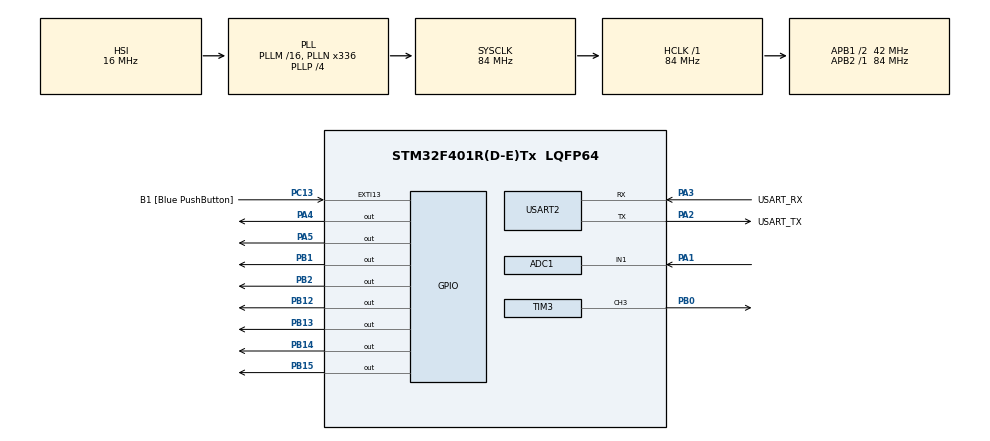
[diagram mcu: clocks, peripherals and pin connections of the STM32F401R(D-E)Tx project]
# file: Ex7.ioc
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ADC1.Channel-0\#ChannelRegularConversion=ADC_CHANNEL_1
ADC1.ExternalTrigConv=ADC_EXTERNALTRIGCONV_T2_TRGO
ADC1.NbrOfConversionFlag=1
ADC1.Rank-0\#ChannelRegularConversion=1
ADC1.SamplingTime-0\#ChannelRegularConversion=ADC_SAMPLETIME_480CYCLES
ADC1.master=1
Mcu.Family=STM32F4
Mcu.Name=STM32F401R(D-E)Tx
Mcu.Package=LQFP64
NVIC.ADC_IRQn=true\:0\:0\:false\:false\:true\:true\:true\:true
NVIC.PriorityGroup=NVIC_PRIORITYGROUP_0
PA1.Signal=SharedAnalog_PA1
PA13.GPIO_Label=TMS
PA13.Mode=Serial_Wire
PA13.Signal=SYS_JTMS-SWDIO
PA14.GPIO_Label=TCK
PA14.Mode=Serial_Wire
PA14.Signal=SYS_JTCK-SWCLK
PA2.GPIO_Label=USART_TX
PA2.GPIO_Mode=GPIO_MODE_AF_PP
PA2.GPIO_PuPd=GPIO_NOPULL
PA2.GPIO_Speed=GPIO_SPEED_FREQ_LOW
PA2.Mode=Asynchronous
PA2.Signal=USART2_TX
PA3.GPIO_Label=USART_RX
PA3.GPIO_Mode=GPIO_MODE_AF_PP
PA3.GPIO_PuPd=GPIO_NOPULL
PA3.GPIO_Speed=GPIO_SPEED_FREQ_LOW
PA3.Mode=Asynchronous
PA3.Signal=USART2_RX
PA4.Signal=GPIO_Output
PA5.Signal=GPIO_Output
PB0.Signal=S_TIM3_CH3
PB1.Signal=GPIO_Output
PB12.Signal=GPIO_Output
PB13.Signal=GPIO_Output
PB14.Signal=GPIO_Output
PB15.Signal=GPIO_Output
PB2.Signal=GPIO_Output
PB3.GPIO_Label=SWO
PB3.Signal=SYS_JTDO-SWO
PC13-ANTI_TAMP.GPIO_Label=B1 [Blue PushButton]
PC13-ANTI_TAMP.GPIO_ModeDefaultEXTI=GPIO_MODE_IT_FALLING
PC13-ANTI_TAMP.GPIO_PuPd=GPIO_NOPULL
PC13-ANTI_TAMP.Signal=GPXTI13
PC14-OSC32_IN.Mode=LSE-External-Oscillator
PC14-OSC32_IN.Signal=RCC_OSC32_IN
PC15-OSC32_OUT.Mode=LSE-External-Oscillator
PC15-OSC32_OUT.Signal=RCC_OSC32_OUT
PH0\ -\ OSC_IN.Mode=HSE-External-Clock-Source
PH0\ -\ OSC_IN.Signal=RCC_OSC_IN
PH1\ -\ OSC_OUT.Mode=HSE-External-Clock-Source
PH1\ -\ OSC_OUT.Signal=RCC_OSC_OUT
ProjectManager.HeapSize=0x200
ProjectManager.StackSize=0x400
ProjectManager.TargetToolchain=STM32CubeIDE
RCC.48MHZClocksFreq_Value=48000000
RCC.AHBFreq_Value=84000000
RCC.APB1CLKDivider=RCC_HCLK_DIV2
RCC.APB1Freq_Value=42000000
RCC.APB1TimFreq_Value=84000000
RCC.APB2Freq_Value=84000000
RCC.APB2TimFreq_Value=84000000
RCC.CortexFreq_Value=84000000
RCC.HCLKFreq_Value=84000000
RCC.HSE_VALUE=8000000
RCC.HSI_VALUE=16000000
RCC.PLLN=336
RCC.PLLP=RCC_PLLP_DIV4
RCC.PLLQ=7
RCC.SYSCLKFreq_VALUE=84000000
RCC.SYSCLKSource=RCC_SYSCLKSOURCE_PLLCLK
RCC.VCOOutputFreq_Value=336000000
SH.S_TIM3_CH3.0=TIM3_CH3,PWM Generation3 CH3
SH.SharedAnalog_PA1.0=GPIO_Analog
SH.SharedAnalog_PA1.1=ADC1_IN1,IN1
TIM2.Period=1000-1
TIM2.Prescaler=1000-1
TIM2.TIM_MasterOutputTrigger=TIM_TRGO_UPDATE
TIM3.Channel-PWM\ Generation3\ CH3=TIM_CHANNEL_3
TIM3.Period=1000-1
TIM3.Prescaler=1000-1
TIM3.Pulse-PWM\ Generation3\ CH3=10-1
TIM3.TIM_MasterOutputTrigger=TIM_TRGO_UPDATE
USART2.VirtualMode=VM_ASYNC
VP_TIM2_VS_ClockSourceINT.Mode=Internal
VP_TIM3_VS_ClockSourceINT.Mode=Internal
board=NUCLEO-F401RE

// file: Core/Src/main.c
/* USER CODE BEGIN Header */
/**
  ******************************************************************************
  * @file           : main.c
  * @brief          : Main program body
  ******************************************************************************
  * @attention
  *
  * Copyright (c) 2023 STMicroelectronics.
  * All rights reserved.
  *
  * This software is licensed under terms that can be found in the LICENSE file
  * in the root directory of this software component.
  * If no LICENSE file comes with this software, it is provided AS-IS.
  *
  ******************************************************************************
  */
/* USER CODE END Header */
#include "main.h"

/* USER CODE BEGIN Includes */
#include "PMDB16_LCD.h"
/* USER CODE END Includes */

ADC_HandleTypeDef hadc1;

TIM_HandleTypeDef htim2;
TIM_HandleTypeDef htim3;

UART_HandleTypeDef huart2;

/* USER CODE BEGIN PV */
int flag=0;
/* USER CODE END PV */

void SystemClock_Config(void);
static void MX_GPIO_Init(void);
static void MX_USART2_UART_Init(void);
static void MX_ADC1_Init(void);
static void MX_TIM3_Init(void);
static void MX_TIM2_Init(void);
/* USER CODE BEGIN PFP */
void HAL_ADC_ConvCpltCallback(ADC_HandleTypeDef* hadc){
	flag=1;
}
void setIntensity_ld2(float voltage){
	TIM_ClockConfigTypeDef sClockSourceConfig = {0};
	  TIM_MasterConfigTypeDef sMasterConfig = {0};
	  TIM_OC_InitTypeDef sConfigOC = {0};

	  /* USER CODE BEGIN TIM2_Init 1 */

	  /* USER CODE END TIM2_Init 1 */
	  htim2.Instance = TIM2;
	  htim2.Init.Prescaler = 1000-1;
	  htim2.Init.CounterMode = TIM_COUNTERMODE_UP;
	  htim2.Init.Period = 1000-1;
	  htim2.Init.ClockDivision = TIM_CLOCKDIVISION_DIV1;
	  htim2.Init.AutoReloadPreload = TIM_AUTORELOAD_PRELOAD_DISABLE;
	  if (HAL_TIM_Base_Init(&htim2) != HAL_OK)
	  {
	    Error_Handler();
	  }
	  sClockSourceConfig.ClockSource = TIM_CLOCKSOURCE_INTERNAL;
	  if (HAL_TIM_ConfigClockSource(&htim2, &sClockSourceConfig) != HAL_OK)
	  {
	    Error_Handler();
	  }
	  if (HAL_TIM_PWM_Init(&htim2) != HAL_OK)
	  {
	    Error_Handler();
	  }
	  sMasterConfig.MasterOutputTrigger = TIM_TRGO_UPDATE;
	  sMasterConfig.MasterSlaveMode = TIM_MASTERSLAVEMODE_DISABLE;
	  if (HAL_TIMEx_MasterConfigSynchronization(&htim2, &sMasterConfig) != HAL_OK)
	  {
	    Error_Handler();
	  }
	  sConfigOC.OCMode = TIM_OCMODE_PWM1;
	  sConfigOC.Pulse = (uint32_t)(1000*voltage/3.3);
	  sConfigOC.OCPolarity = TIM_OCPOLARITY_HIGH;
	  sConfigOC.OCFastMode = TIM_OCFAST_DISABLE;
	  if (HAL_TIM_PWM_ConfigChannel(&htim2, &sConfigOC, TIM_CHANNEL_1) != HAL_OK)
	  {
	    Error_Handler();
	  }
	  /* USER CODE BEGIN TIM2_Init 2 */

	  /* USER CODE END TIM2_Init 2 */
	  HAL_TIM_MspPostInit(&htim2);
}
void setIntensity(float voltage){
	TIM_ClockConfigTypeDef sClockSourceConfig = {0};
  TIM_MasterConfigTypeDef sMasterConfig = {0};
  TIM_OC_InitTypeDef sConfigOC = {0};

  /* USER CODE BEGIN TIM3_Init 1 */

  /* USER CODE END TIM3_Init 1 */
  htim3.Instance = TIM3;
  htim3.Init.Prescaler = 1000-1;
  htim3.Init.CounterMode = TIM_COUNTERMODE_UP;
  htim3.Init.Period = 1000-1;
  htim3.Init.ClockDivision = TIM_CLOCKDIVISION_DIV1;
  htim3.Init.AutoReloadPreload = TIM_AUTORELOAD_PRELOAD_DISABLE;
  if (HAL_TIM_Base_Init(&htim3) != HAL_OK)
  {
	Error_Handler();
  }
  sClockSourceConfig.ClockSource = TIM_CLOCKSOURCE_INTERNAL;
  if (HAL_TIM_ConfigClockSource(&htim3, &sClockSourceConfig) != HAL_OK)
  {
	Error_Handler();
  }
  if (HAL_TIM_PWM_Init(&htim3) != HAL_OK)
  {
	Error_Handler();
  }
  sMasterConfig.MasterOutputTrigger = TIM_TRGO_UPDATE;
  sMasterConfig.MasterSlaveMode = TIM_MASTERSLAVEMODE_DISABLE;
  if (HAL_TIMEx_MasterConfigSynchronization(&htim3, &sMasterConfig) != HAL_OK)
  {
	Error_Handler();
  }
  sConfigOC.OCMode = TIM_OCMODE_PWM1;
  sConfigOC.Pulse = (uint32_t)(1000*voltage/3.3);

  sConfigOC.OCPolarity = TIM_OCPOLARITY_HIGH;
  sConfigOC.OCFastMode = TIM_OCFAST_DISABLE;
  if (HAL_TIM_PWM_ConfigChannel(&htim3, &sConfigOC, TIM_CHANNEL_3) != HAL_OK)
  {
	Error_Handler();
  }
  /* USER CODE BEGIN TIM3_Init 2 */

  /* USER CODE END TIM3_Init 2 */
  HAL_TIM_MspPostInit(&htim3);
}
/* USER CODE END PFP */

int main(void)
{

  /* MCU Configuration--------------------------------------------------------*/

  /* Reset of all peripherals, Initializes the Flash interface and the Systick. */
  HAL_Init();

  /* Configure the system clock */
  SystemClock_Config();

  /* Initialize all configured peripherals */
  MX_GPIO_Init();
  MX_USART2_UART_Init();
  MX_ADC1_Init();
  MX_TIM3_Init();
  MX_TIM2_Init();
  /* USER CODE BEGIN 2 */
  lcd_initialize();
  HAL_ADC_Start_IT(&hadc1);
  HAL_TIM_Base_Start_IT(&htim2);

  /* USER CODE END 2 */

  /* Infinite loop */
  /* USER CODE BEGIN WHILE */
  while (1)
  {
	  if(flag){
		  HAL_TIM_PWM_Stop(&htim3, TIM_CHANNEL_3);
		  int conversion=HAL_ADC_GetValue(&hadc1);
		  float voltage= conversion*3.3/4096.0;
		  char string[64]="";
		  //setIntensity_ld2(voltage);
		  setIntensity(voltage);
		  snprintf(string, sizeof(string), "voltage: %0.3f",voltage);
		  lcd_backlight_ON();
		  lcd_println(string, 0);
		  lcd_drawBar((int)(voltage/3.3*80));
		  //HAL_TIM_PWM_Start(&htim2, TIM_CHANNEL_1);
		  HAL_TIM_PWM_Start(&htim3, TIM_CHANNEL_3);
		  flag=0;
	  }
    /* USER CODE END WHILE */

  }
}

void SystemClock_Config(void)
{
  RCC_OscInitTypeDef RCC_OscInitStruct = {0};
  RCC_ClkInitTypeDef RCC_ClkInitStruct = {0};

  /** Configure the main internal regulator output voltage
  */
  __HAL_RCC_PWR_CLK_ENABLE();
  __HAL_PWR_VOLTAGESCALING_CONFIG(PWR_REGULATOR_VOLTAGE_SCALE2);

  /** Initializes the RCC Oscillators according to the specified parameters
  * in the RCC_OscInitTypeDef structure.
  */
  RCC_OscInitStruct.OscillatorType = RCC_OSCILLATORTYPE_HSI;
  RCC_OscInitStruct.HSIState = RCC_HSI_ON;
  RCC_OscInitStruct.HSICalibrationValue = RCC_HSICALIBRATION_DEFAULT;
  RCC_OscInitStruct.PLL.PLLState = RCC_PLL_ON;
  RCC_OscInitStruct.PLL.PLLSource = RCC_PLLSOURCE_HSI;
  RCC_OscInitStruct.PLL.PLLM = 16;
  RCC_OscInitStruct.PLL.PLLN = 336;
  RCC_OscInitStruct.PLL.PLLP = RCC_PLLP_DIV4;
  RCC_OscInitStruct.PLL.PLLQ = 7;
  if (HAL_RCC_OscConfig(&RCC_OscInitStruct) != HAL_OK)
  {
    Error_Handler();
  }

  /** Initializes the CPU, AHB and APB buses clocks
  */
  RCC_ClkInitStruct.ClockType = RCC_CLOCKTYPE_HCLK|RCC_CLOCKTYPE_SYSCLK
                              |RCC_CLOCKTYPE_PCLK1|RCC_CLOCKTYPE_PCLK2;
  RCC_ClkInitStruct.SYSCLKSource = RCC_SYSCLKSOURCE_PLLCLK;
  RCC_ClkInitStruct.AHBCLKDivider = RCC_SYSCLK_DIV1;
  RCC_ClkInitStruct.APB1CLKDivider = RCC_HCLK_DIV2;
  RCC_ClkInitStruct.APB2CLKDivider = RCC_HCLK_DIV1;

  if (HAL_RCC_ClockConfig(&RCC_ClkInitStruct, FLASH_LATENCY_2) != HAL_OK)
  {
    Error_Handler();
  }
}

static void MX_ADC1_Init(void)
{

  ADC_ChannelConfTypeDef sConfig = {0};

  /** Configure the global features of the ADC (Clock, Resolution, Data Alignment and number of conversion)
  */
  hadc1.Instance = ADC1;
  hadc1.Init.ClockPrescaler = ADC_CLOCK_SYNC_PCLK_DIV4;
  hadc1.Init.Resolution = ADC_RESOLUTION_12B;
  hadc1.Init.ScanConvMode = DISABLE;
  hadc1.Init.ContinuousConvMode = DISABLE;
  hadc1.Init.DiscontinuousConvMode = DISABLE;
  hadc1.Init.ExternalTrigConvEdge = ADC_EXTERNALTRIGCONVEDGE_RISING;
  hadc1.Init.ExternalTrigConv = ADC_EXTERNALTRIGCONV_T2_TRGO;
  hadc1.Init.DataAlign = ADC_DATAALIGN_RIGHT;
  hadc1.Init.NbrOfConversion = 1;
  hadc1.Init.DMAContinuousRequests = DISABLE;
  hadc1.Init.EOCSelection = ADC_EOC_SINGLE_CONV;
  if (HAL_ADC_Init(&hadc1) != HAL_OK)
  {
    Error_Handler();
  }

  /** Configure for the selected ADC regular channel its corresponding rank in the sequencer and its sample time.
  */
  sConfig.Channel = ADC_CHANNEL_1;
  sConfig.Rank = 1;
  sConfig.SamplingTime = ADC_SAMPLETIME_480CYCLES;
  if (HAL_ADC_ConfigChannel(&hadc1, &sConfig) != HAL_OK)
  {
    Error_Handler();
  }

}

static void MX_TIM2_Init(void)
{

  TIM_ClockConfigTypeDef sClockSourceConfig = {0};
  TIM_MasterConfigTypeDef sMasterConfig = {0};

  htim2.Instance = TIM2;
  htim2.Init.Prescaler = 1000-1;
  htim2.Init.CounterMode = TIM_COUNTERMODE_UP;
  htim2.Init.Period = 1000-1;
  htim2.Init.ClockDivision = TIM_CLOCKDIVISION_DIV1;
  htim2.Init.AutoReloadPreload = TIM_AUTORELOAD_PRELOAD_DISABLE;
  if (HAL_TIM_Base_Init(&htim2) != HAL_OK)
  {
    Error_Handler();
  }
  sClockSourceConfig.ClockSource = TIM_CLOCKSOURCE_INTERNAL;
  if (HAL_TIM_ConfigClockSource(&htim2, &sClockSourceConfig) != HAL_OK)
  {
    Error_Handler();
  }
  sMasterConfig.MasterOutputTrigger = TIM_TRGO_UPDATE;
  sMasterConfig.MasterSlaveMode = TIM_MASTERSLAVEMODE_DISABLE;
  if (HAL_TIMEx_MasterConfigSynchronization(&htim2, &sMasterConfig) != HAL_OK)
  {
    Error_Handler();
  }

}

static void MX_TIM3_Init(void)
{

  TIM_ClockConfigTypeDef sClockSourceConfig = {0};
  TIM_MasterConfigTypeDef sMasterConfig = {0};
  TIM_OC_InitTypeDef sConfigOC = {0};

  htim3.Instance = TIM3;
  htim3.Init.Prescaler = 1000-1;
  htim3.Init.CounterMode = TIM_COUNTERMODE_UP;
  htim3.Init.Period = 1000-1;
  htim3.Init.ClockDivision = TIM_CLOCKDIVISION_DIV1;
  htim3.Init.AutoReloadPreload = TIM_AUTORELOAD_PRELOAD_DISABLE;
  if (HAL_TIM_Base_Init(&htim3) != HAL_OK)
  {
    Error_Handler();
  }
  sClockSourceConfig.ClockSource = TIM_CLOCKSOURCE_INTERNAL;
  if (HAL_TIM_ConfigClockSource(&htim3, &sClockSourceConfig) != HAL_OK)
  {
    Error_Handler();
  }
  if (HAL_TIM_PWM_Init(&htim3) != HAL_OK)
  {
    Error_Handler();
  }
  sMasterConfig.MasterOutputTrigger = TIM_TRGO_UPDATE;
  sMasterConfig.MasterSlaveMode = TIM_MASTERSLAVEMODE_DISABLE;
  if (HAL_TIMEx_MasterConfigSynchronization(&htim3, &sMasterConfig) != HAL_OK)
  {
    Error_Handler();
  }
  sConfigOC.OCMode = TIM_OCMODE_PWM1;
  sConfigOC.Pulse = 10-1;
  sConfigOC.OCPolarity = TIM_OCPOLARITY_HIGH;
  sConfigOC.OCFastMode = TIM_OCFAST_DISABLE;
  if (HAL_TIM_PWM_ConfigChannel(&htim3, &sConfigOC, TIM_CHANNEL_3) != HAL_OK)
  {
    Error_Handler();
  }
  HAL_TIM_MspPostInit(&htim3);

}

static void MX_USART2_UART_Init(void)
{

  huart2.Instance = USART2;
  huart2.Init.BaudRate = 115200;
  huart2.Init.WordLength = UART_WORDLENGTH_8B;
  huart2.Init.StopBits = UART_STOPBITS_1;
  huart2.Init.Parity = UART_PARITY_NONE;
  huart2.Init.Mode = UART_MODE_TX_RX;
  huart2.Init.HwFlowCtl = UART_HWCONTROL_NONE;
  huart2.Init.OverSampling = UART_OVERSAMPLING_16;
  if (HAL_UART_Init(&huart2) != HAL_OK)
  {
    Error_Handler();
  }

}

static void MX_GPIO_Init(void)
{
  GPIO_InitTypeDef GPIO_InitStruct = {0};

  /* GPIO Ports Clock Enable */
  __HAL_RCC_GPIOC_CLK_ENABLE();
  __HAL_RCC_GPIOH_CLK_ENABLE();
  __HAL_RCC_GPIOA_CLK_ENABLE();
  __HAL_RCC_GPIOB_CLK_ENABLE();

  /*Configure GPIO pin Output Level */
  HAL_GPIO_WritePin(GPIOA, GPIO_PIN_4|GPIO_PIN_5, GPIO_PIN_RESET);

  /*Configure GPIO pin Output Level */
  HAL_GPIO_WritePin(GPIOB, GPIO_PIN_1|GPIO_PIN_2|GPIO_PIN_12|GPIO_PIN_13
                          |GPIO_PIN_14|GPIO_PIN_15, GPIO_PIN_RESET);

  /*Configure GPIO pin : B1_Pin */
  GPIO_InitStruct.Pin = B1_Pin;
  GPIO_InitStruct.Mode = GPIO_MODE_IT_FALLING;
  GPIO_InitStruct.Pull = GPIO_NOPULL;
  HAL_GPIO_Init(B1_GPIO_Port, &GPIO_InitStruct);

  /*Configure GPIO pins : PA4 PA5 */
  GPIO_InitStruct.Pin = GPIO_PIN_4|GPIO_PIN_5;
  GPIO_InitStruct.Mode = GPIO_MODE_OUTPUT_PP;
  GPIO_InitStruct.Pull = GPIO_NOPULL;
  GPIO_InitStruct.Speed = GPIO_SPEED_FREQ_LOW;
  HAL_GPIO_Init(GPIOA, &GPIO_InitStruct);

  /*Configure GPIO pins : PB1 PB2 PB12 PB13
                           PB14 PB15 */
  GPIO_InitStruct.Pin = GPIO_PIN_1|GPIO_PIN_2|GPIO_PIN_12|GPIO_PIN_13
                          |GPIO_PIN_14|GPIO_PIN_15;
  GPIO_InitStruct.Mode = GPIO_MODE_OUTPUT_PP;
  GPIO_InitStruct.Pull = GPIO_NOPULL;
  GPIO_InitStruct.Speed = GPIO_SPEED_FREQ_LOW;
  HAL_GPIO_Init(GPIOB, &GPIO_InitStruct);

}

void Error_Handler(void)
{
  __disable_irq();
  while (1)
  {
  }
}
